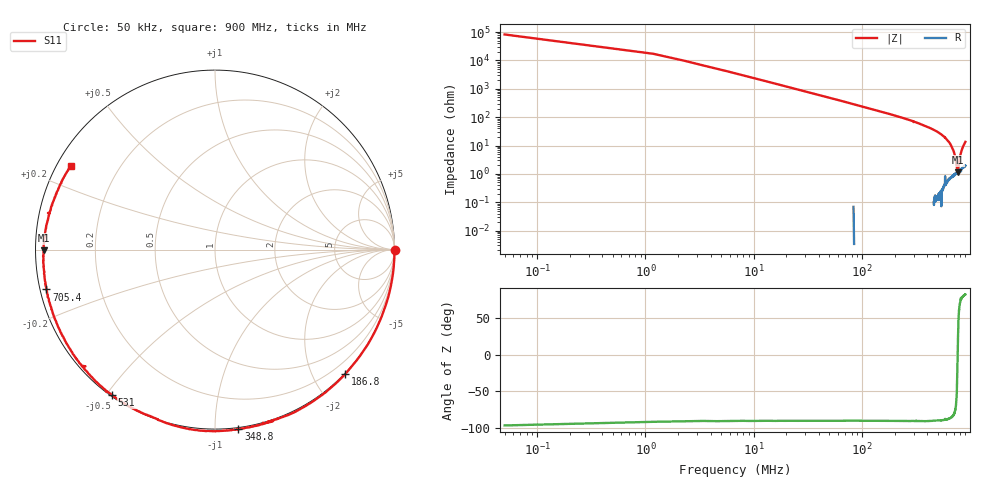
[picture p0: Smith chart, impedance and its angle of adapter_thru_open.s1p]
! NanoVNA-App
! Date: 2026-10-30 13:09:36
! Start: 50kHz Stop: 900MHz Points: 801
! S-Parameter data: F S11
# Hz S RI R 50
!  Frequency  S11_Real  S11_Imag
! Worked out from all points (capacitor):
!   801 points, 50 kHz to 900 MHz, reference 50 ohm
!   read as one part to ground: C = 6.71 pF near 4.55 MHz
!   lowest |Z| = 1.14 ohm at 762.8 MHz (marker M1)
!   series resonance near 764.1 MHz, so ESL is about 6.5 nH
!   S11 on the Smith chart (normalised r, x): 50 kHz: open; 186.8 MHz: -0.01, -2.48; 348.8 MHz: -0.01, -1.14; 531 MHz: 0.00, -0.52; 705.4 MHz: 0.02, -0.12; 900 MHz: 0.04, +0.27
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50000  1 -0.0012
2.70485e7  0.9941 -0.1111
5.629688e7  0.9741 -0.2291
8.329538e7  0.9425 -0.3341
1.125438e8  0.8965 -0.4453
1.485418e8  0.822 -0.5723
1.867896e8  0.7238 -0.6951
2.250375e8  0.6073 -0.8015
2.767846e8  0.4246 -0.914
2.936587e8  0.3581 -0.9389
3.037831e8  0.3161 -0.9587
3.375312e8  0.1772 -0.9916
3.487806e8  0.1307 -1.001
3.982779e8  -0.0729 -1.009
4.241514e8  -0.1798 -0.9913
4.50025e8  -0.286 -0.9601
4.938976e8  -0.4461 -0.8906
5.310205e8  -0.5755 -0.8097
5.625188e8  -0.6747 -0.7235
6.176407e8  -0.814 -0.5456
6.457641e8  -0.8678 -0.4448
6.750125e8  -0.9093 -0.3357
7.053858e8  -0.9396 -0.2223
7.425088e8  -0.9551 -0.0798
7.627576e8  -0.9555 -0.00361
7.875062e8  -0.946 0.0872
8.336287e8  -0.9089 0.25
9e8  -0.8041 0.4665
